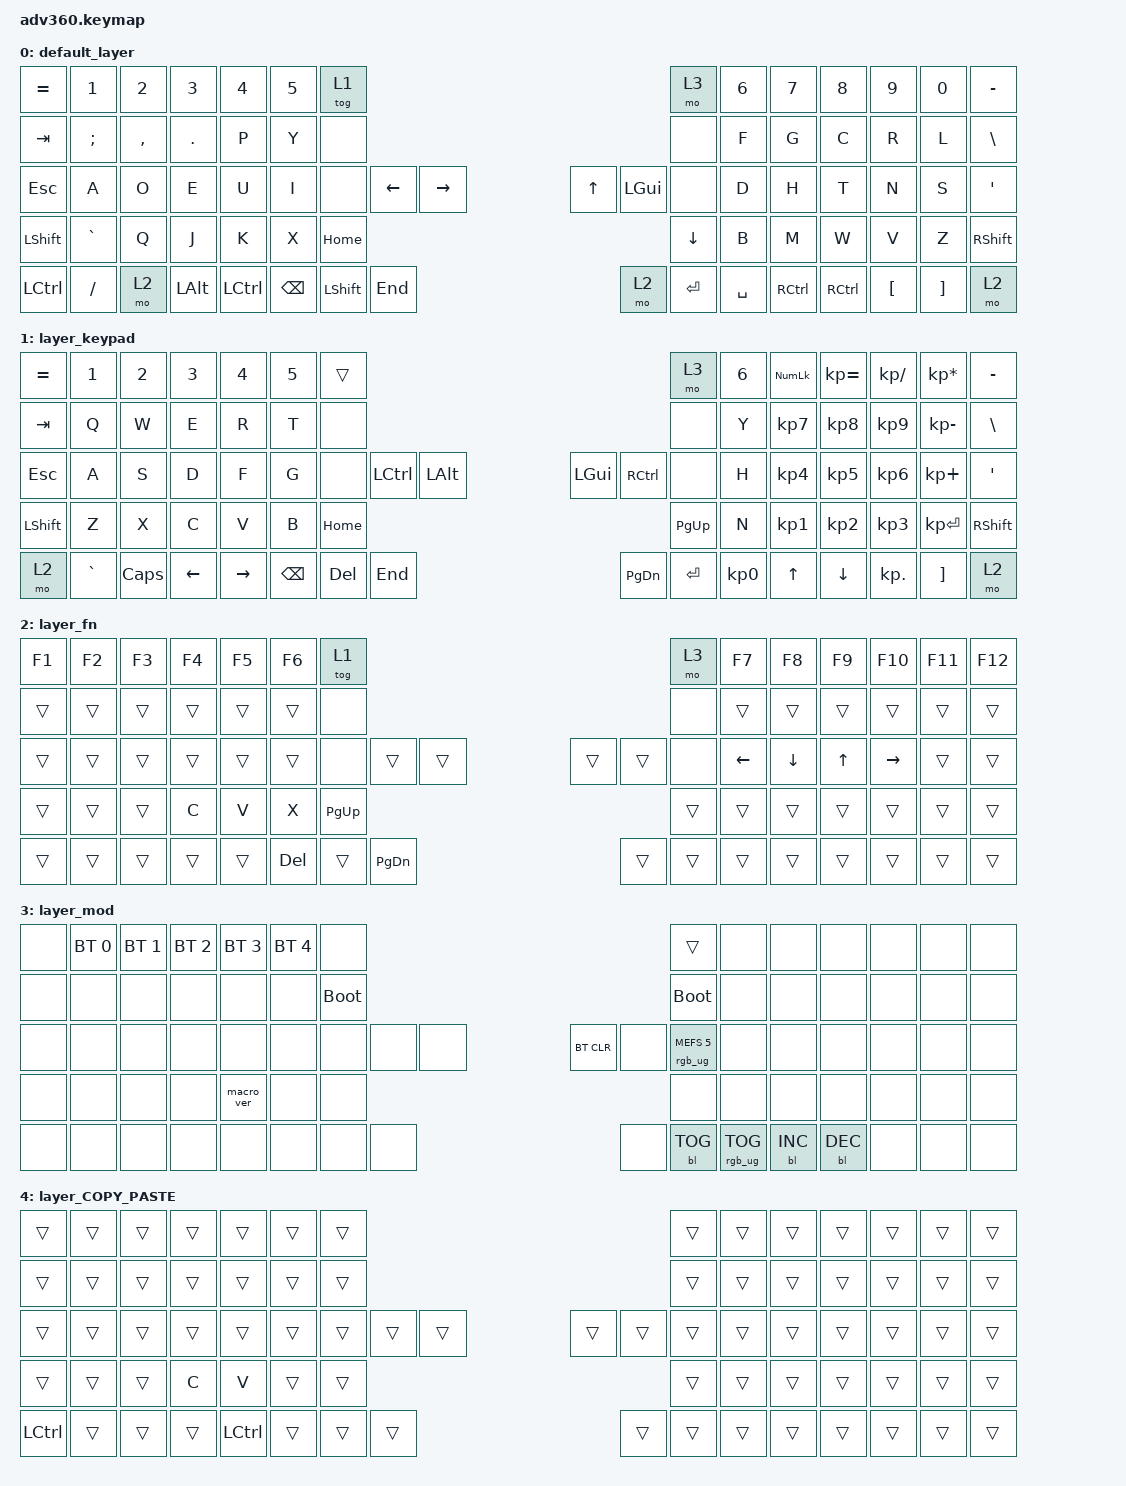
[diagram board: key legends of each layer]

/*
 * Copyright (c) 2020 The ZMK Contributors
 *
 * SPDX-License-Identifier: MIT
 */


/* THIS FILE WAS GENERATED!
 *
 * This file was generated automatically. You may or may not want to
 * edit it directly.
 */

#include <behaviors.dtsi>
#include <dt-bindings/zmk/keys.h>
#include <dt-bindings/zmk/bt.h>
#include <dt-bindings/zmk/rgb.h>
#include <dt-bindings/zmk/backlight.h>

/ {
  behaviors {
    #include "macros.dtsi"
    #include "version.dtsi"

    hm: homerow_mods {
        compatible = "zmk,behavior-hold-tap";
        label = "HOMEROW_MODS";
        #binding-cells = <2>;
        tapping-term-ms = <200>;
        quick_tap_ms = <175>;
        flavor = "tap-preferred";
        bindings = <&kp>, <&kp>;
    };
  };

    keymap {
        compatible = "zmk,keymap";


        default_layer {
            bindings = <
 &kp EQUAL     &kp N1     &kp N2        &kp N3     &kp N4  &kp N5              &tog 1                                                                      &mo 3  &kp N6     &kp N7     &kp N8    &kp N9    &kp N0  &kp MINUS
   &kp TAB   &kp SEMI  &kp COMMA    &kp PERIOD      &kp P   &kp Y               &none                                                                      &none   &kp F      &kp G      &kp C     &kp R     &kp L   &kp BSLH
   &kp ESC      &kp A      &kp O         &kp E      &kp U   &kp I               &none        &kp LEFT  &kp RIGHT                    &kp UP   &kp LGUI      &none   &kp D      &kp H      &kp T     &kp N     &kp S    &kp SQT
 &kp LSHFT  &kp GRAVE      &kp Q         &kp J      &kp K   &kp X                                       &kp HOME                  &kp DOWN                         &kp B      &kp M      &kp W     &kp V     &kp Z  &kp RSHFT
 &kp LCTRL   &kp FSLH      &mo 2  &kp LEFT_ALT  &kp LCTRL                    &kp BSPC  &kp LEFT_SHIFT    &kp END                     &mo 2  &kp ENTER  &kp SPACE          &kp RCTRL  &kp RCTRL  &kp LBKT  &kp RBKT      &mo 2
            >;
        };

        layer_keypad {
            bindings = <
 &kp EQUAL     &kp N1    &kp N2    &kp N3     &kp N4  &kp N5              &trans                                                                 &mo 3  &kp N6  &kp KP_NUM  &kp KP_EQUAL  &kp KP_DIVIDE  &kp KP_MULTIPLY  &kp MINUS
   &kp TAB      &kp Q     &kp W     &kp E      &kp R   &kp T               &none                                                                 &none   &kp Y   &kp KP_N7     &kp KP_N8      &kp KP_N9     &kp KP_MINUS   &kp BSLH
   &kp ESC      &kp A     &kp S     &kp D      &kp F   &kp G               &none  &kp LCTRL  &kp LALT                   &kp LGUI  &kp RCTRL      &none   &kp H   &kp KP_N4     &kp KP_N5      &kp KP_N6      &kp KP_PLUS    &kp SQT
 &kp LSHFT      &kp Z     &kp X     &kp C      &kp V   &kp B                                 &kp HOME                  &kp PG_UP                         &kp N   &kp KP_N1     &kp KP_N2      &kp KP_N3     &kp KP_ENTER  &kp RSHFT
     &mo 2  &kp GRAVE  &kp CAPS  &kp LEFT  &kp RIGHT                    &kp BSPC    &kp DEL   &kp END                  &kp PG_DN  &kp ENTER  &kp KP_N0              &kp UP      &kp DOWN     &kp KP_DOT         &kp RBKT      &mo 2
            >;
        };

        layer_fn {
            bindings = <
 &kp F1  &kp F2  &kp F3  &kp F4  &kp F5  &kp F6                &tog 1                                                          &mo 3    &kp F7    &kp F8  &kp F9    &kp F10  &kp F11  &kp F12
 &trans  &trans  &trans  &trans  &trans  &trans                 &none                                                          &none    &trans    &trans  &trans     &trans   &trans   &trans
 &trans  &trans  &trans  &trans  &trans  &trans                 &none  &trans         &trans                  &trans  &trans   &none  &kp LEFT  &kp DOWN  &kp UP  &kp RIGHT   &trans   &trans
 &trans  &trans  &trans   &kp C   &kp V   &kp X                                    &kp PG_UP                  &trans                    &trans    &trans  &trans     &trans   &trans   &trans
 &trans  &trans  &trans  &trans  &trans                    &kp DELETE  &trans  &kp PAGE_DOWN                  &trans  &trans  &trans              &trans  &trans     &trans   &trans   &trans
            >;
        };

        layer_mod {
            bindings = <
  &none  &bt BT_SEL 0  &bt BT_SEL 1  &bt BT_SEL 2  &bt BT_SEL 3  &bt BT_SEL 4                  &none                                                                          &trans   &none       &none       &none   &none   &none   &none
  &none         &none         &none         &none         &none         &none            &bootloader                                                                     &bootloader   &none       &none       &none   &none   &none   &none
  &none         &none         &none         &none         &none         &none                  &none   &none   &none                  &bt BT_CLR       &none  &rgb_ug RGB_MEFS_CMD 5   &none       &none       &none   &none   &none   &none
  &none         &none         &none         &none    &macro_ver         &none                                  &none                       &none                                       &none       &none       &none   &none   &none   &none
  &none         &none         &none         &none         &none                                &none   &none   &none                       &none  &bl BL_TOG         &rgb_ug RGB_TOG          &bl BL_INC  &bl BL_DEC   &none   &none   &none
            >;
        };

        layer_COPY_PASTE {
            bindings = <
    &trans  &trans  &trans  &trans     &trans  &trans            &trans                                                  &trans  &trans  &trans  &trans  &trans  &trans  &trans
    &trans  &trans  &trans  &trans     &trans  &trans            &trans                                                  &trans  &trans  &trans  &trans  &trans  &trans  &trans
    &trans  &trans  &trans  &trans     &trans  &trans            &trans  &trans  &trans                  &trans  &trans  &trans  &trans  &trans  &trans  &trans  &trans  &trans
    &trans  &trans  &trans   &kp C      &kp V  &trans                            &trans                  &trans                  &trans  &trans  &trans  &trans  &trans  &trans
 &kp LCTRL  &trans  &trans  &trans  &kp LCTRL                    &trans  &trans  &trans                  &trans  &trans  &trans          &trans  &trans  &trans  &trans  &trans
            >;
        };

    };
};
